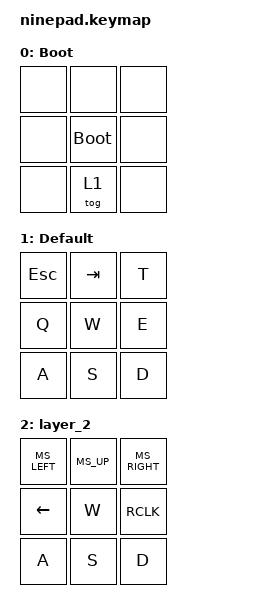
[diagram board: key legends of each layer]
#include <behaviors.dtsi>
#include <dt-bindings/zmk/keys.h>
#include <dt-bindings/zmk/mouse.h>

&bootloader {
};

&lt {
};

/ {
    behaviors {
        lgui7_7: lgui7_7 {
            compatible = "zmk,behavior-tap-dance";
            label = "LGUI7_7";
            #binding-cells = <0>;
            bindings = <&kp N7>, <&kp LG(N7)>;
        };

        lgui3_media: lgui3_media {
            compatible = "zmk,behavior-tap-dance";
            label = "LGUI3_MEDIA";
            #binding-cells = <0>;
            bindings = <&kp LG(NUMBER_3)>, <&to 0>, <&kp K_PLAY_PAUSE>;
        };
    };

    combos { compatible = "zmk,combos"; };

    keymap {
        compatible = "zmk,keymap";
        label = "ninepad";

        Boot {
            bindings = <
&none  &none        &none
&none  &bootloader  &none
&none  &tog 1       &none
            >;
        };

        default_layer {
            label = "Default";
            bindings = <
&kp ESC  &kp TAB  &kp T
&kp Q    &kp W    &kp E
&kp A    &kp S    &kp D
            >;
        };

        layer_2 {
            bindings = <
&kp MS_LEFT  &kp MS_UP    &kp MS_RIGHT
&kp LEFT_ARROW  &kp W     &kp RCLK
&kp A           &kp S     &kp D
            >;
        };
    };
}
